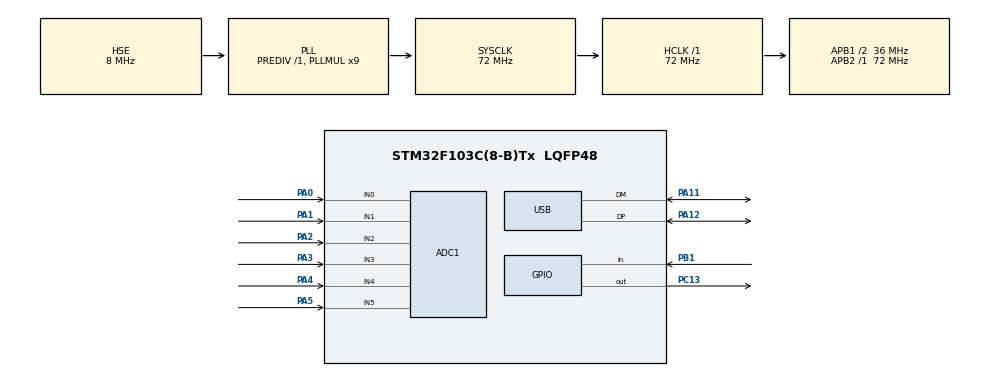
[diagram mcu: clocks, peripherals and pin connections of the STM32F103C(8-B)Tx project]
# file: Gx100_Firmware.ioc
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ADC1.Channel-0\#ChannelRegularConversion=ADC_CHANNEL_0
ADC1.Channel-1\#ChannelRegularConversion=ADC_CHANNEL_1
ADC1.Channel-2\#ChannelRegularConversion=ADC_CHANNEL_2
ADC1.Channel-3\#ChannelRegularConversion=ADC_CHANNEL_3
ADC1.Channel-4\#ChannelRegularConversion=ADC_CHANNEL_4
ADC1.Channel-5\#ChannelRegularConversion=ADC_CHANNEL_5
ADC1.ContinuousConvMode=ENABLE
ADC1.NbrOfConversion=6
ADC1.NbrOfConversionFlag=1
ADC1.Rank-0\#ChannelRegularConversion=1
ADC1.Rank-1\#ChannelRegularConversion=2
ADC1.Rank-2\#ChannelRegularConversion=3
ADC1.Rank-3\#ChannelRegularConversion=4
ADC1.Rank-4\#ChannelRegularConversion=5
ADC1.Rank-5\#ChannelRegularConversion=6
ADC1.SamplingTime-0\#ChannelRegularConversion=ADC_SAMPLETIME_28CYCLES_5
ADC1.SamplingTime-1\#ChannelRegularConversion=ADC_SAMPLETIME_28CYCLES_5
ADC1.SamplingTime-2\#ChannelRegularConversion=ADC_SAMPLETIME_28CYCLES_5
ADC1.SamplingTime-3\#ChannelRegularConversion=ADC_SAMPLETIME_28CYCLES_5
ADC1.SamplingTime-4\#ChannelRegularConversion=ADC_SAMPLETIME_28CYCLES_5
ADC1.SamplingTime-5\#ChannelRegularConversion=ADC_SAMPLETIME_28CYCLES_5
ADC1.master=1
Dma.ADC1.0.Direction=DMA_PERIPH_TO_MEMORY
Dma.ADC1.0.Instance=DMA1_Channel1
Dma.ADC1.0.MemDataAlignment=DMA_MDATAALIGN_HALFWORD
Dma.ADC1.0.MemInc=DMA_MINC_ENABLE
Dma.ADC1.0.Mode=DMA_CIRCULAR
Dma.ADC1.0.PeriphDataAlignment=DMA_PDATAALIGN_HALFWORD
Dma.ADC1.0.PeriphInc=DMA_PINC_DISABLE
Dma.ADC1.0.Priority=DMA_PRIORITY_LOW
Dma.Request0=ADC1
Mcu.Family=STM32F1
Mcu.Name=STM32F103C(8-B)Tx
Mcu.Package=LQFP48
NVIC.DMA1_Channel1_IRQn=true\:0\:0\:false\:false\:true\:false\:true\:true
NVIC.PriorityGroup=NVIC_PRIORITYGROUP_4
NVIC.USB_LP_CAN1_RX0_IRQn=true\:0\:0\:false\:false\:true\:false\:true\:true
PA0-WKUP.Signal=ADCx_IN0
PA1.Signal=ADCx_IN1
PA11.Mode=Device
PA11.Signal=USB_DM
PA12.Mode=Device
PA12.Signal=USB_DP
PA13.Mode=Trace_Asynchronous_SW
PA13.Signal=SYS_JTMS-SWDIO
PA14.Mode=Trace_Asynchronous_SW
PA14.Signal=SYS_JTCK-SWCLK
PB3.Mode=Trace_Asynchronous_SW
PB3.Signal=SYS_JTDO-TRACESWO
PA2.Signal=ADCx_IN2
PA3.Signal=ADCx_IN3
PA4.Signal=ADCx_IN4
PA5.Signal=ADCx_IN5
PB1.GPIO_PuPd=GPIO_PULLUP
PB1.Signal=GPIO_Input
PC13-LD2.GPIO_Speed=GPIO_SPEED_FREQ_LOW
PC13-LD2.Signal=GPIO_Output
PD0-OSC_IN.Mode=HSE-External-Oscillator
PD0-OSC_IN.Signal=RCC_OSC_IN
PD1-OSC_OUT.Mode=HSE-External-Oscillator
PD1-OSC_OUT.Signal=RCC_OSC_OUT
ProjectManager.HeapSize=0x200
ProjectManager.StackSize=0x400
ProjectManager.TargetToolchain=STM32CubeIDE
RCC.ADCPresc=RCC_ADCPCLK2_DIV6
RCC.AHBFreq_Value=72000000
RCC.APB1CLKDivider=RCC_HCLK_DIV2
RCC.APB1Freq_Value=36000000
RCC.APB1TimFreq_Value=72000000
RCC.APB2Freq_Value=72000000
RCC.APB2TimFreq_Value=72000000
RCC.HCLKFreq_Value=72000000
RCC.PLLMUL=RCC_PLL_MUL9
RCC.SYSCLKFreq_VALUE=72000000
RCC.SYSCLKSource=RCC_SYSCLKSOURCE_PLLCLK
RCC.USBFreq_Value=48000000
RCC.USBPrescaler=RCC_USBCLKSOURCE_PLL_DIV1_5
SH.ADCx_IN0.0=ADC1_IN0,IN0
SH.ADCx_IN1.0=ADC1_IN1,IN1
SH.ADCx_IN2.0=ADC1_IN2,IN2
SH.ADCx_IN3.0=ADC1_IN3,IN3
SH.ADCx_IN4.0=ADC1_IN4,IN4
SH.ADCx_IN5.0=ADC1_IN5,IN5
USB_DEVICE.CLASS_NAME_FS=HID
USB_DEVICE.VirtualMode=Hid
USB_DEVICE.VirtualModeFS=Hid_FS
VP_USB_DEVICE_VS_USB_DEVICE_HID_FS.Mode=HID_FS
board=custom

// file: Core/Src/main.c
/* USER CODE BEGIN Header */
/**
  ******************************************************************************
  * @file           : main.c
  * @brief          : Main program body
  ******************************************************************************
  * @attention
  *
  * Copyright (c) 2026 STMicroelectronics.
  * All rights reserved.
  *
  * This software is licensed under terms that can be found in the LICENSE file
  * in the root directory of this software component.
  * If no LICENSE file comes with this software, it is provided AS-IS.
  *
  ******************************************************************************
  */
/* USER CODE END Header */
#include "main.h"
#include "adc.h"
#include "dma.h"
#include "usb_device.h"
#include "gpio.h"

/* USER CODE BEGIN Includes */
#include "usbd_composite.h"

#include "hall_sensors.h"
#include "collar_switch.h"
#include "gear_position.h"
#include "calibration_store.h"
#include "mode_state_machine.h"
#include "hid_report.h"
#include "fast_gear.h"
#include "debug_trace.h"
#include "status_led.h"
#include "boot_link.h"
#include "mode_flash.h"
/* USER CODE END Includes */

/* USER CODE BEGIN PD */
/* Cadence du pas lent (mode_state_machine, gestes, calibration, trace
 * CDC, LED) : conservee a 100ms/pas comme le
 * firmware de diagnostic (Diag/Gx100_DiagFirm), car toutes les constantes
 * de mode_state_machine.h (CONFIRM_SAMPLES, HOLD_TIMEOUT_MS, HELD_WINDOW,
 * timings du geste de bascule/calibration) ont ete calibrees empiriquement
 * sur des captures reelles a cette cadence — la changer sans revalider sur
 * de nouvelles captures risquerait de modifier le comportement deja
 * valide (cf PLAN.md Phase 5). */
#define MAIN_LOOP_PERIOD_MS 100U
/* Boucle rapide : lecture Hall + fast_gear + envoi HID a chaque tick.
 * mode_state_machine & co restent cadences a MAIN_LOOP_PERIOD_MS (cf
 * ci-dessus) ; seul le chemin rapide H + SEQ (fast_gear.h) profite de
 * cette cadence, pour supprimer les 300-500ms de latence mesures entre
 * l'arrivee du levier en grille et l'envoi du bouton. */
#define FAST_LOOP_PERIOD_MS 1U
/* USER CODE END PD */

/* USER CODE BEGIN PV */
static gear_calibration_t g_calibration;
static mode_state_machine_t g_msm;
static collar_switch_t g_collar;
/* Anti-rebond separe a cadence rapide (COLLAR_DEBOUNCE_STEPS x 1ms) pour le
 * latch marche arriere du chemin rapide : g_collar reste a la cadence
 * lente, dont dependent les timings valides des gestes/calibration. */
static collar_switch_t g_collar_fast;
static fast_gear_t g_fast_gear;
static hid_report_state_t g_hid_report;
static status_led_state_t g_status_led;
/* USER CODE END PV */

void SystemClock_Config(void);

int main(void)
{

  /* USER CODE BEGIN 1 */
  /* Table des vecteurs la ou ce binaire a ete lie : 0x08000000 seul, ou
   * 0x08001000 derriere le bootloader USB (cf gx100_boot.h). A faire avant
   * HAL_Init, qui active l'interruption SysTick. */
  extern uint32_t g_pfnVectors[];
  SCB->VTOR = (uint32_t)g_pfnVectors;
  /* USER CODE END 1 */

  /* MCU Configuration--------------------------------------------------------*/

  /* Reset of all peripherals, Initializes the Flash interface and the Systick. */
  HAL_Init();

  /* Configure the system clock */
  SystemClock_Config();

  /* USER CODE BEGIN SysInit */
  /* Force l'hote a re-enumerer apres un reset sans debranchement (mise a
   * jour, sortie du bootloader), cf boot_link.h. */
  boot_link_usb_reenumerate();
  /* USER CODE END SysInit */

  /* Initialize all configured peripherals */
  MX_GPIO_Init();
  MX_DMA_Init();
  MX_ADC1_Init();
  MX_USB_DEVICE_Init();
  /* USER CODE BEGIN 2 */
  hall_sensors_init();
  collar_switch_init(&g_collar);
  collar_switch_init(&g_collar_fast);
  fast_gear_init(&g_fast_gear);

  /* calibration_store_load() lit la derniere calibration valide en flash
   * (calibration_flash.c) et retombe sur les defauts mesures Phase 4/5 si
   * la flash est vierge ou corrompue — dans les deux cas, neutral/scale
   * sont deja recalcules a la sortie de cet appel (cf calibration_store.c). */
  calibration_store_load(&g_calibration);
  mode_state_machine_init(&g_msm, &g_calibration);
  /* Reprend le mode du branchement precedent (H par defaut si aucun). */
  gear_mode_t saved_mode = mode_flash_load();
  if (saved_mode != GEAR_MODE_NONE) {
    g_msm.mode_courant = saved_mode;
  }
  hid_report_init(&g_hid_report);

  /* debug_trace : sortie CSV sur le port CDC (2eme interface du composite
   * HID+CDC, cf usbd_composite.c), en parallele du HID gamepad qui reste
   * inchange. Permet de diagnostiquer boutons/bascule de mode avec un
   * script Python (pyserial) sans logiciel PC proprietaire ni sacrifier le
   * device HID (cf PLAN.md Phase 6). */
  debug_trace_init();

  /* status_led : retour visuel sur la LED integree PC13 pendant le mode
   * calibration (respiration + point attendu en impulsions, flash de
   * validation par point, cf status_led.h) — pas de logiciel PC
   * necessaire pour suivre une session de calibration sur le terrain. */
  status_led_init(&g_status_led);
  /* USER CODE END 2 */

  /* Infinite loop */
  /* USER CODE BEGIN WHILE */
  uint32_t t_last_slow = HAL_GetTick() - MAIN_LOOP_PERIOD_MS; /* 1er pas lent immediat */
  while (1)
  {
    uint32_t t_loop = HAL_GetTick();
    hall_sample_t hall;
    hall_sensors_read(&hall);
    uint32_t t_ms = HAL_GetTick();

    /* --- Pas lent (cadence validee 100ms) : inchange par rapport a la
     * boucle d'origine. */
    bool slow_step = (t_ms - t_last_slow) >= MAIN_LOOP_PERIOD_MS;
    int collar = 0;
    if (slow_step) {
      t_last_slow = t_ms;
      collar = collar_switch_read(&g_collar);
      mode_state_machine_step(&g_msm, t_ms, &hall, collar);
      if (g_msm.last_switch_applied) {
        mode_flash_save(g_msm.mode_courant);
      }
      hid_report_build(&g_hid_report, &g_msm, collar, &hall);
      status_led_step(&g_status_led, t_ms, &g_msm);
    }

    /* --- Pas rapide : position H / impulsion SEQ sans attendre la confirmation
     * lente (cf fast_gear.h). g_msm.calibration = calibration courante,
     * y compris apres une mise a jour en mode calibration. */
    int collar_fast = collar_switch_read(&g_collar_fast);
    gear_position_t fast_gear = fast_gear_step(&g_fast_gear, t_ms, &hall, &g_msm.calibration, g_msm.mode_courant);
    hid_report_apply_fast_gear(&g_hid_report, &g_msm, collar_fast, fast_gear, &hall, t_ms);

    /* Trace CDC apres le pas rapide : la ligne montre le rapport HID
     * reellement envoye ce tour (cf debug_trace.h). */
    if (slow_step) {
      debug_trace_step(t_ms, &hall, collar, &g_msm, g_hid_report.report, fast_gear);
    }
    debug_trace_calibration_poll(t_ms, &g_msm.calibration);
    status_led_output(&g_status_led, t_ms);

    /* Non bloquant : ignore si le transfert precedent n'est pas termine, le
     * rapport courant repart au tour suivant. */
    USBD_COMPOSITE_HID_SendReport(&hUsbDeviceFS, g_hid_report.report, HID_REPORT_SIZE);

    /* Commande "passage en bootloader" recue sur le port CDC : reset. */
    boot_link_poll();

    /* Attend le tick suivant le debut de ce tour (pas HAL_Delay, qui ajoute
     * un tick de marge et donnait une periode de ~2ms) : les tours suivants
     * demarrent sur un front de SysTick, periode = FAST_LOOP_PERIOD_MS. */
    while ((HAL_GetTick() - t_loop) < FAST_LOOP_PERIOD_MS)
    {
    }
    /* USER CODE END WHILE */

  }
}

void SystemClock_Config(void)
{
  RCC_OscInitTypeDef RCC_OscInitStruct = {0};
  RCC_ClkInitTypeDef RCC_ClkInitStruct = {0};
  RCC_PeriphCLKInitTypeDef PeriphClkInit = {0};

  /** Initializes the RCC Oscillators according to the specified parameters
  * in the RCC_OscInitTypeDef structure.
  */
  RCC_OscInitStruct.OscillatorType = RCC_OSCILLATORTYPE_HSE;
  RCC_OscInitStruct.HSEState = RCC_HSE_ON;
  RCC_OscInitStruct.HSEPredivValue = RCC_HSE_PREDIV_DIV1;
  RCC_OscInitStruct.HSIState = RCC_HSI_ON;
  RCC_OscInitStruct.PLL.PLLState = RCC_PLL_ON;
  RCC_OscInitStruct.PLL.PLLSource = RCC_PLLSOURCE_HSE;
  RCC_OscInitStruct.PLL.PLLMUL = RCC_PLL_MUL9;
  if (HAL_RCC_OscConfig(&RCC_OscInitStruct) != HAL_OK)
  {
    Error_Handler();
  }

  /** Initializes the CPU, AHB and APB buses clocks
  */
  RCC_ClkInitStruct.ClockType = RCC_CLOCKTYPE_HCLK|RCC_CLOCKTYPE_SYSCLK
                              |RCC_CLOCKTYPE_PCLK1|RCC_CLOCKTYPE_PCLK2;
  RCC_ClkInitStruct.SYSCLKSource = RCC_SYSCLKSOURCE_PLLCLK;
  RCC_ClkInitStruct.AHBCLKDivider = RCC_SYSCLK_DIV1;
  RCC_ClkInitStruct.APB1CLKDivider = RCC_HCLK_DIV2;
  RCC_ClkInitStruct.APB2CLKDivider = RCC_HCLK_DIV1;

  if (HAL_RCC_ClockConfig(&RCC_ClkInitStruct, FLASH_LATENCY_2) != HAL_OK)
  {
    Error_Handler();
  }
  PeriphClkInit.PeriphClockSelection = RCC_PERIPHCLK_ADC|RCC_PERIPHCLK_USB;
  PeriphClkInit.AdcClockSelection = RCC_ADCPCLK2_DIV6;
  PeriphClkInit.UsbClockSelection = RCC_USBCLKSOURCE_PLL_DIV1_5;
  if (HAL_RCCEx_PeriphCLKConfig(&PeriphClkInit) != HAL_OK)
  {
    Error_Handler();
  }
}

void Error_Handler(void)
{
  __disable_irq();
  while (1)
  {
  }
}
